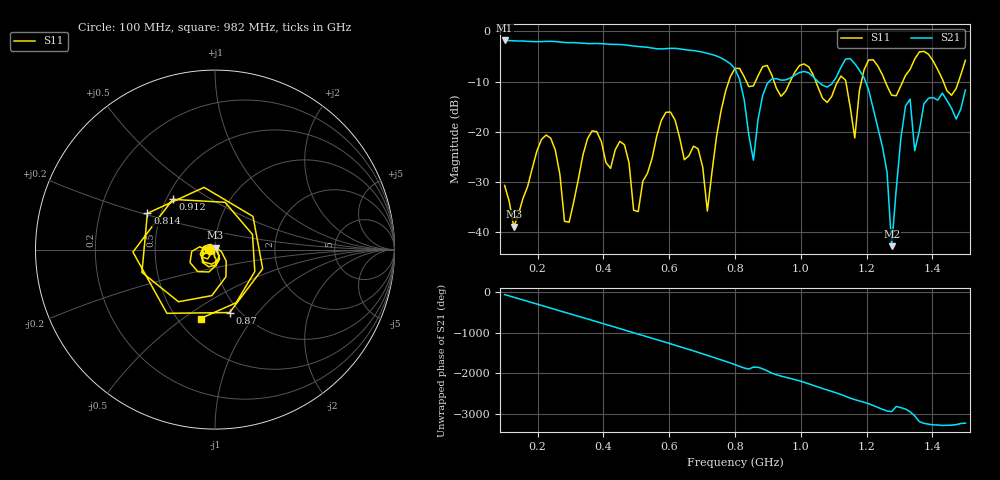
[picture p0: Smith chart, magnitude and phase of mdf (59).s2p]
! NanoVNA-App
! Date: 2025-09-25 15:38:53
! Start: 100MHz Stop: 1,5GHz Points: 101
! S-Parameter data: F S11 S21 S12 S22
# Hz S RI R 50
!  Frequency  S11_Real  S11_Imag  S21_Real  S21_Imag  S12_Real  S12_Imag  S22_Real  S22_Imag
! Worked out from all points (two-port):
!   101 points, 100 MHz to 1.5 GHz, reference 50 ohm
!   highest |S21| = -1.80 dB at 100 MHz (marker M1); lowest = -42.9 dB at 1.276 GHz (marker M2)
!   |S21| within 3 dB of the highest: start of sweep to 739.2 MHz
!   lowest |S11| = -39.0 dB at 128 MHz (marker M3), VSWR 1.02, Z = 50.3 + j1.07 ohm
!   |S11| at or under -10 dB: start of sweep to 781 MHz; 1.045 GHz to 1.112 GHz (66.9 MHz wide, 6.2 % of centre); 1.256 GHz to 1.31 GHz (53.33 MHz wide, 4.16 % of centre)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
!   S12 and S22 are empty: the file has one direction only
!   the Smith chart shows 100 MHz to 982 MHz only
!   S11 on the Smith chart (normalised r, x): 100 MHz: 0.94, -0.01; 814 MHz: 0.42, +0.21; 870 MHz: 0.90, -0.73; 912 MHz: 0.54, +0.35; 982 MHz: 0.64, -0.58
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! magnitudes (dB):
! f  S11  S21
! 100 MHz  -30.8  -1.8
! 128 MHz  -39.0  -1.9
! 212 MHz  -21.6  -2.0
! 282 MHz  -37.9  -2.2
! 338 MHz  -24.7  -2.3
! 464 MHz  -22.6  -2.7
! 506 MHz  -36.0  -3.0
! 576 MHz  -17.8  -3.5
! 716 MHz  -35.9  -4.4
! 800 MHz  -7.4  -7.5
! 814 MHz  -7.4  -9.6
! 856 MHz  -10.9  -25.7
! 870 MHz  -8.9  -17.6
! 912 MHz  -8.7  -9.5
! 982 MHz  -8.1  -8.7
! 1.038 GHz  -8.7  -9.1
! 1.164 GHz  -21.3  -6.4
! 1.192 GHz  -7.7  -9.2
! 1.276 GHz  -12.7  -42.9
! 1.318 GHz  -8.8  -14.9
! 1.346 GHz  -5.5  -23.8
! 1.5 GHz  -5.8  -11.7
